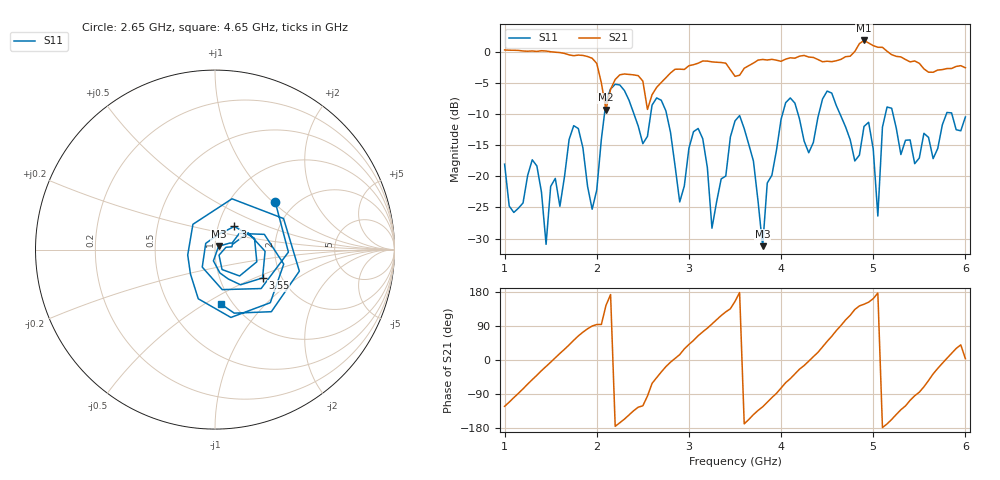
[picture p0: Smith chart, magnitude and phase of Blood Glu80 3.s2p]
! NanoVNA-App
! Date: 2024-03-20 21:56:37
! Start: 1GHz Stop: 6GHz Points: 101
! S-Parameter data: F S11 S21 S12 S22
# Hz S RI R 50
!	Frequency	S11_Real	S11_Imag	S21_Real	S21_Imag	S12_Real	S12_Imag	S22_Real	S22_Imag
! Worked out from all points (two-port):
!   101 points, 1 GHz to 6 GHz, reference 50 ohm
!   highest |S21| = 1.86 dB at 4.9 GHz (marker M1); lowest = -9.3 dB at 2.1 GHz (marker M2)
!   |S21| within 3 dB of the highest: start of sweep to 1.958 GHz; 4.654 GHz to 5.342 GHz (687.8 MHz wide, 13.8 % of centre)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
!   lowest |S11| = -31.2 dB at 3.8 GHz (marker M3), VSWR 1.06, Z = 52 + j1.94 ohm
!   |S11| at or under -10 dB: start of sweep to 2.083 GHz; 2.758 GHz to 4.015 GHz (1.257 GHz wide, 37.1 % of centre); 5.215 GHz to 5.793 GHz (578.1 MHz wide, 10.5 % of centre)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
!   S12 and S22 are empty: the file has one direction only
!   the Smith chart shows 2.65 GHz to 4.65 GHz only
!   S11 on the Smith chart (normalised r, x): 2.65 GHz: 1.60, +1.03; 3 GHz: 1.20, +0.32; 3.55 GHz: 1.60, -0.56; 4.65 GHz: 0.88, -0.59
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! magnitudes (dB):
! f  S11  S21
! 1 GHz  -18.0  0.3
! 1.35 GHz  -18.3  0.1
! 1.45 GHz  -30.9  0.2
! 1.85 GHz  -15.4  -0.5
! 1.95 GHz  -25.3  -1.0
! 2.1 GHz  -8.0  -9.3
! 2.65 GHz  -7.4  -5.7
! 2.7 GHz  -7.8  -4.9
! 2.9 GHz  -24.1  -2.8
! 3 GHz  -15.5  -2.2
! 3.15 GHz  -13.9  -1.4
! 3.25 GHz  -28.3  -1.6
! 3.5 GHz  -11.1  -3.9
! 3.55 GHz  -10.2  -3.7
! 3.8 GHz  -31.2  -1.2
! 4.05 GHz  -8.1  -1.1
! 4.35 GHz  -14.6  -0.9
! 4.65 GHz  -10.3  -1.2
! 4.9 GHz  -12.0  1.9
! 5.05 GHz  -26.4  0.8
! 5.2 GHz  -9.0  -0.4
! 6 GHz  -10.5  -2.5
